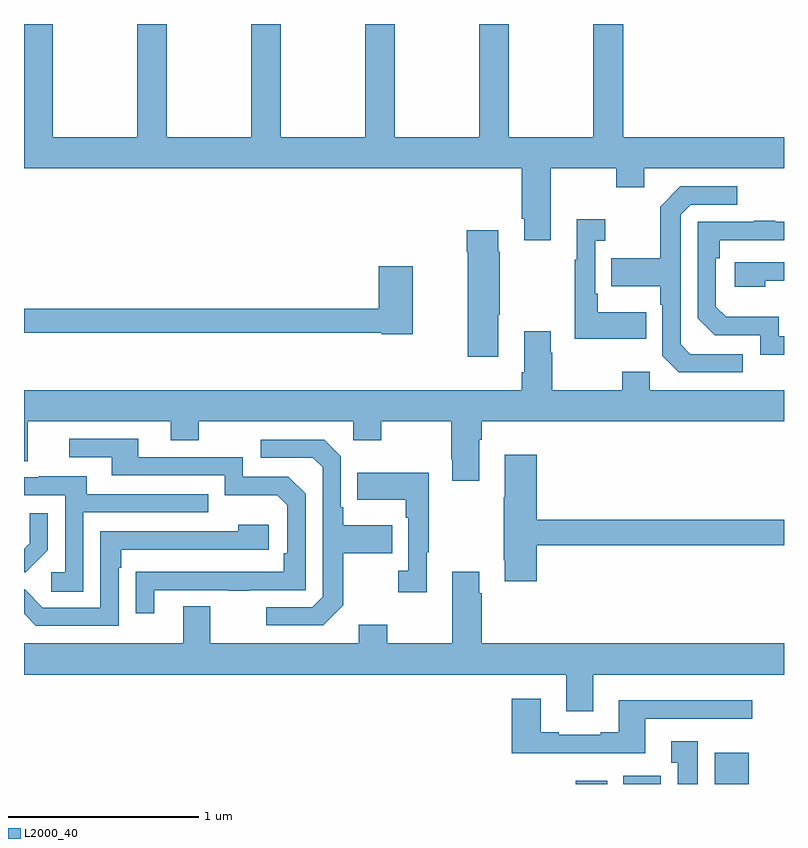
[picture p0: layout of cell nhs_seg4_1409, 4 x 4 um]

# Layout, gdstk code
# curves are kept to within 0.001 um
import gdstk
lib = gdstk.Library(unit=1e-6, precision=1e-09)
def R(c, l, rs):  # rectangles x0, y0, x1, y1
    for r in rs: c.add(gdstk.rectangle(r[:2], r[2:], *l))
def P(c, l, *ps):  # polygons
    for p in ps: c.add(gdstk.Polygon(p, *l))
L2000_40 = (2000, 40)

nhs_seg4_1409 = lib.new_cell('nhs_seg4_1409')
R(nhs_seg4_1409, L2000_40, [(185.903,806.9,186.07,806.917), (186.155,806.9,186.352,806.944), (186.635,806.9,186.814,807.064)])
P(nhs_seg4_1409, L2000_40, [(183,810.9),(183,810.14),(185.621,810.14),(185.621,809.875),(185.633,809.875),(185.633,809.763),(185.773,809.763),(185.773,810.14),(186.118,810.14),(186.118,810.041),(186.265,810.041),(186.265,810.14),(187,810.14),(187,810.304),(186.155,810.304),(186.155,810.9),(185.995,810.9),(185.995,810.304),(185.55,810.304),(185.55,810.9),(185.395,810.9),(185.395,810.304),(184.95,810.304),(184.95,810.9),(184.795,810.9),(184.795,810.304),(184.35,810.304),(184.35,810.9),(184.195,810.9),(184.195,810.304),(183.75,810.304),(183.75,810.9),(183.595,810.9),(183.595,810.304),(183.15,810.304),(183.15,810.9)],
  [(186.784,809.163),(186.507,809.163),(186.456,809.214),(186.456,809.895),(186.51,809.949),(186.754,809.949),(186.754,810.045),(186.453,810.045),(186.348,809.939),(186.348,809.667),(186.091,809.667),(186.091,809.519),(186.348,809.519),(186.348,809.423),(186.36,809.423),(186.36,809.154),(186.447,809.067),(186.784,809.067)],
  [(186.275,809.383),(186.019,809.383),(186.019,809.479),(186.006,809.479),(186.006,809.759),(186.058,809.759),(186.058,809.872),(185.909,809.872),(185.909,809.659),(185.898,809.659),(185.898,809.243),(186.275,809.243)],
  [(187,809.256),(186.972,809.256),(186.972,809.359),(186.695,809.359),(186.642,809.412),(186.642,809.666),(186.662,809.666),(186.662,809.763),(187,809.763),(187,809.859),(186.953,809.859),(186.953,809.864),(186.841,809.864),(186.841,809.859),(186.546,809.859),(186.546,809.352),(186.636,809.262),(186.876,809.262),(186.876,809.16),(187,809.16)],
  [(185.497,809.371),(185.505,809.371),(185.505,809.702),(185.497,809.702),(185.497,809.815),(185.33,809.815),(185.33,809.702),(185.335,809.702),(185.335,809.148),(185.497,809.148)],
  [(186.902,809.55),(187,809.55),(187,809.646),(186.741,809.646),(186.741,809.516),(186.902,809.516)],
  [(185.046,809.626),(184.868,809.626),(184.868,809.402),(183,809.402),(183,809.274),(184.884,809.274),(184.884,809.266),(185.046,809.266)],
  [(185.395,808.712),(185.408,808.712),(185.408,808.808),(187,808.808),(187,808.972),(186.294,808.972),(186.294,809.071),(186.148,809.071),(186.148,808.972),(185.781,808.972),(185.781,809.171),(185.773,809.171),(185.773,809.284),(185.633,809.284),(185.633,809.068),(185.621,809.068),(185.621,808.972),(183,808.972),(183,808.6),(183.019,808.6),(183.019,808.808),(183.773,808.808),(183.773,808.709),(183.921,808.709),(183.921,808.808),(184.734,808.808),(184.734,808.709),(184.881,808.709),(184.881,808.808),(185.248,808.808),(185.248,808.609),(185.255,808.609),(185.255,808.497),(185.395,808.497)],
  [(183.685,807.921),(184.075,807.921),(184.075,807.916),(184.187,807.916),(184.187,807.921),(184.482,807.921),(184.482,808.428),(184.392,808.518),(184.152,808.518),(184.152,808.62),(183.601,808.62),(183.601,808.716),(183.237,808.716),(183.237,808.62),(183.461,808.62),(183.461,808.524),(184.056,808.524),(184.056,808.421),(184.333,808.421),(184.386,808.368),(184.386,808.114),(184.366,808.114),(184.366,808.017),(183.589,808.016),(183.589,807.798),(183.685,807.798)],
  [(184.681,807.841),(184.681,808.114),(184.937,808.114),(184.937,808.261),(184.681,808.261),(184.681,808.357),(184.668,808.357),(184.668,808.626),(184.581,808.713),(184.245,808.713),(184.245,808.617),(184.521,808.617),(184.572,808.566),(184.572,807.885),(184.518,807.831),(184.275,807.831),(184.275,807.735),(184.575,807.735)],
  [(185.699,808.156),(187,808.156),(187,808.292),(185.699,808.292),(185.699,808.633),(185.531,808.633),(185.531,808.409),(185.524,808.409),(185.524,808.078),(185.531,808.078),(185.531,807.966),(185.699,807.966)],
  [(185.119,808.121),(185.131,808.121),(185.131,808.537),(184.753,808.537),(184.753,808.397),(185.01,808.397),(185.01,808.301),(185.022,808.301),(185.022,808.022),(184.971,808.022),(184.971,807.909),(185.119,807.909)],
  [(183.312,808.329),(183.971,808.329),(183.971,808.425),(183.331,808.425),(183.331,808.519),(183.077,808.519),(183.077,808.515),(183,808.515),(183,808.419),(183.216,808.419),(183.216,808.014),(183.144,808.014),(183.144,807.913),(183.312,807.913)],
  [(183.126,808.13),(183.126,808.324),(183.029,808.324),(183.029,808.167),(183,808.138),(183,808.014),(183.01,808.014)],
  [(183.498,808.037),(183.511,808.037),(183.511,808.134),(184.288,808.134),(184.288,808.264),(184.127,808.264),(184.127,808.23),(183.402,808.23),(183.402,807.828),(183.099,807.828),(183.003,807.924),(183,807.924),(183,807.795),(183.063,807.732),(183.498,807.732)],
  [(185.995,807.476),(187,807.476),(187,807.64),(185.408,807.64),(185.408,807.905),(185.395,807.905),(185.395,808.018),(185.255,808.018),(185.255,807.64),(184.911,807.64),(184.911,807.739),(184.763,807.739),(184.763,807.64),(183.979,807.64),(183.979,807.835),(183.839,807.835),(183.839,807.64),(183,807.64),(183,807.476),(185.855,807.476),(185.855,807.282),(185.995,807.282)],
  [(186.271,807.243),(186.832,807.243),(186.832,807.34),(186.131,807.34),(186.131,807.172),(186.035,807.172),(186.035,807.159),(185.815,807.159),(185.815,807.172),(185.719,807.172),(185.719,807.349),(185.567,807.349),(185.567,807.062),(186.271,807.062)],
  [(186.547,807.124),(186.407,807.124),(186.407,807.011),(186.44,807.011),(186.44,806.9),(186.547,806.9)])

lib.write_gds('nhs_seg4_1409.gds')
